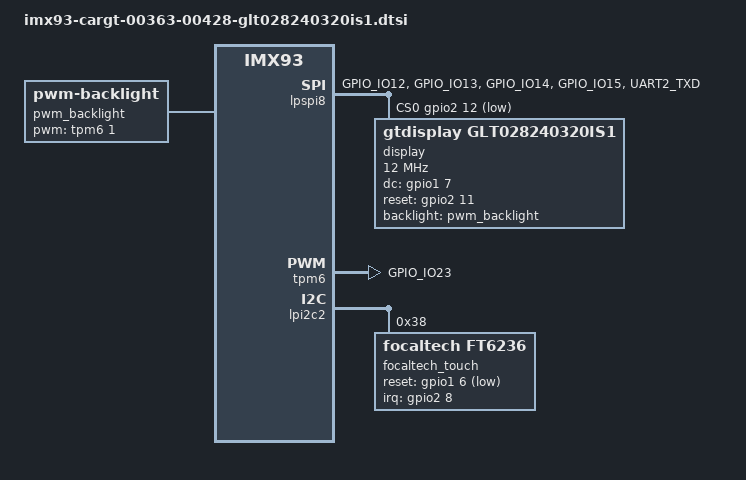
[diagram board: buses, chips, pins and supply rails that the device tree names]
// SPDX-License-Identifier: (GPL-2.0+ OR MIT)
/*
 * Copyright 2022 NXP
 */

/ {
	pwm_backlight: pwm_backlight {
		compatible = "pwm-backlight";
		pwms = <&tpm6 1 5000000 0>; // 200 Hz
		brightness-levels = <0 100>;
		num-interpolated-steps = <100>;
		default-brightness-level = <80>;
		status = "okay";
	};
};

&lpspi8 {
	fsl,spi-num-chipselects = <1>;
	pinctrl-names = "default", "sleep";
	pinctrl-0 = <&pinctrl_lpspi8>;
	pinctrl-1 = <&pinctrl_lpspi8>;
	cs-gpios = <&gpio2 12 GPIO_ACTIVE_LOW>;
	status = "okay";

	/delete-property/ dmas;
	/delete-property/ dma-names;

	display@0{
		compatible = "gtdisplay,glt028240320IS1", "sitronix,st7789t3";
		reg = <0>;
		spi-max-frequency = <12000000>;
		pinctrl-names = "default";
		pinctrl-0 = <&pinctrl_display_rst>;
		dc-gpios = <&gpio1 7 GPIO_ACTIVE_HIGH>;
		reset-gpios = <&gpio2 11 GPIO_ACTIVE_HIGH>;
		backlight = <&pwm_backlight>;
	};
};


&lpuart2 {
	status = "disabled";
};

&tpm6 {
	pinctrl-names = "default";
	pinctrl-0 = <&pinctrl_backlight_pwm>;
	status = "okay";
};

&lpi2c2 {
	focaltech_touch: touchscreen@38 {
		compatible = "focaltech,ft6236";
		reg = <0x38>;
		pinctrl-names = "default";
		pinctrl-0 = <&pinctrl_touch_io>;
		interrupt-parent = <&gpio2>;
		interrupts = <8 IRQ_TYPE_EDGE_FALLING>;
        touchscreen-size-x = <240>;
        touchscreen-size-y = <320>;
		touchscreen-inverted-y;
		reset-gpios = <&gpio1 6 GPIO_ACTIVE_LOW>;
		wakeup-source;
      };
};

&iomuxc {
	pinctrl_lpspi8: lpspi8grp {
		fsl,pins = <
			MX93_PAD_GPIO_IO12__GPIO2_IO12      0x3fe
			MX93_PAD_GPIO_IO13__LPSPI8_SIN      0x3fe
			MX93_PAD_GPIO_IO14__LPSPI8_SOUT     0x3fe
			MX93_PAD_GPIO_IO15__LPSPI8_SCK      0x3fe
            MX93_PAD_UART2_TXD__GPIO1_IO07      0x3fe // Data Command Switch
		>;
	};

	pinctrl_backlight_pwm: backlight-pwmgrp {
		fsl,pins = <
			MX93_PAD_GPIO_IO23__TPM6_CH1		0x2
		>;
	};

	pinctrl_display_rst: displayrstgrp {
		fsl,pins = <
			MX93_PAD_GPIO_IO11__GPIO2_IO11		0x3fe // UBUS_RST
		>;
	};

	pinctrl_touch_io: touchiogrp {
		fsl,pins = <
			MX93_PAD_UART2_RXD__GPIO1_IO06		0x3fe // RST
			MX93_PAD_GPIO_IO08__GPIO2_IO08		0x3fe // INT
		>;
	};
};
